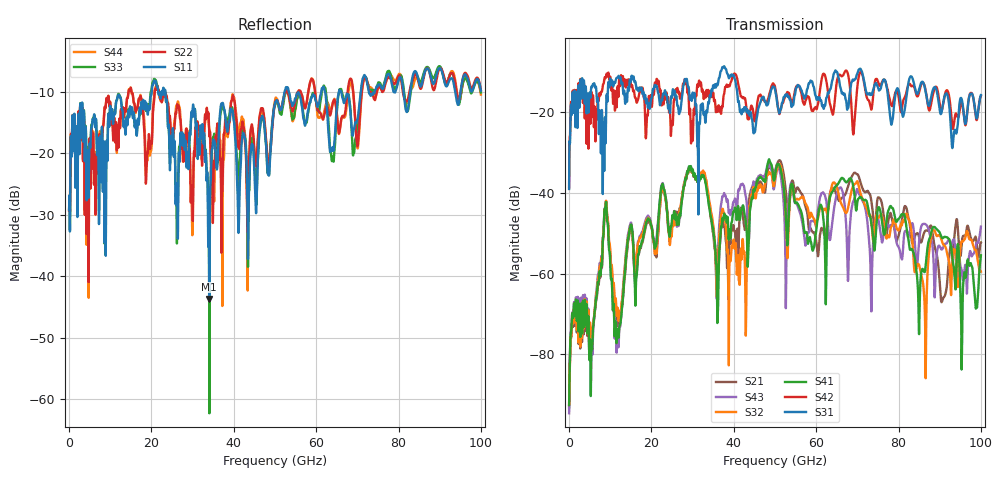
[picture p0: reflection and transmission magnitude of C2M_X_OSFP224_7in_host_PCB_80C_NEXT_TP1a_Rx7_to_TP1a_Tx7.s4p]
# GHz S RI R 45
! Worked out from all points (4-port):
!   4000 points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, 25 MHz to 100 GHz, reference 45 ohm
!   strongest paths, dB at 25 MHz, 25.02 GHz, 50.02 GHz, 75.03 GHz, 100 GHz:
!     S31: -39.0, -16.0, -14.4, -13.8, -15.7
!     S42: -38.6, -22.1, -13.7, -12.5, -15.9
!     S41: -92.6, -46.2, -35.7, -43.8, -55.5
!     S32: -92.5, -48.8, -36.6, -46.2, -59.5
!     S43: -94.7, -47.5, -37.2, -46.2, -48.4
!     S21: -93.2, -46.9, -34.8, -41.1, -52.3
!   lowest |S11| = -43.7 dB at 34.05 GHz (marker M1), VSWR 1.01, Z = 45.5 + j0.218 ohm
!   |S11| at or under -10 dB: start of sweep to 20.08 GHz; 23.4 GHz to 52.3 GHz (28.9 GHz wide, 76.4 % of centre); 53.4 GHz to 61.23 GHz (7.833 GHz wide, 13.7 % of centre)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
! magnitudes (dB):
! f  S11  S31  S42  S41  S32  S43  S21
! 25 MHz  -29.1  -39.0  -38.6  -92.6  -92.5  -94.7  -93.2
! 5.375 GHz  -16.0  -13.9  -15.0  -81.2  -76.0  -82.0  -76.2
! 8.975 GHz  -27.0  -21.3  -11.1  -42.2  -42.0  -42.0  -42.1
! 11.9 GHz  -10.5  -11.1  -15.1  -75.0  -69.2  -76.2  -71.2
! 14.8 GHz  -12.5  -11.9  -12.6  -48.8  -48.7  -48.0  -49.4
! 34.05 GHz  -43.7  -17.0  -16.1  -43.4  -42.2  -42.3  -43.5
! 100 GHz  -9.8  -15.7  -15.9  -55.5  -59.5  -48.4  -52.3
